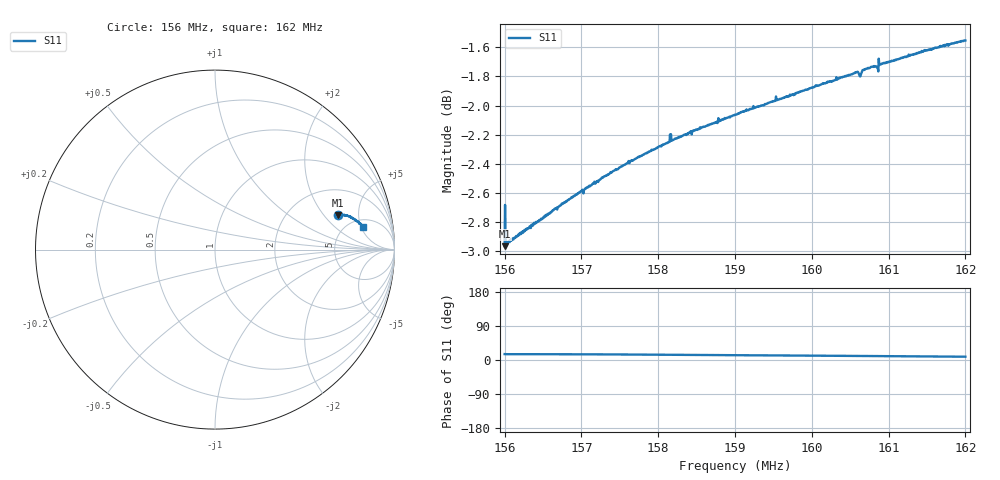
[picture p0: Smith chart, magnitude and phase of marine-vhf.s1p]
! Calibrated averaged scanner-service zoom
# Hz S RI R 50
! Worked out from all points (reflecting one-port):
!   1001 points, 156 MHz to 162 MHz, reference 50 ohm
!   lowest |S11| = -3.0 dB at 156 MHz (marker M1), VSWR 5.92, Z = 182 + j141 ohm
!   phase of S11 starts at 16 deg and turns -7 deg over the sweep
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1.56e8  0.6847 0.1911
1.56036e8  0.6875 0.1885
1.56042e8  0.6872 0.1886
1.56138e8  0.69 0.1894
1.56486e8  0.7005 0.1922
1.5675e8  0.7094 0.1932
1.57158e8  0.7216 0.1924
1.575e8  0.7321 0.1906
1.5774e8  0.7392 0.1882
1.58118e8  0.7491 0.1842
1.58136e8  0.7494 0.1838
1.5825e8  0.7525 0.1827
1.58472e8  0.7578 0.1799
1.59e8  0.7692 0.1731
1.59222e8  0.7739 0.1701
1.5975e8  0.7844 0.1636
1.605e8  0.7993 0.1529
1.60578e8  0.8012 0.1517
1.60626e8  0.7984 0.1527
1.60692e8  0.8033 0.15
1.608e8  0.8054 0.1482
1.60836e8  0.806 0.1469
1.60854e8  0.8053 0.1449
1.60902e8  0.8074 0.1463
1.6092e8  0.808 0.1461
1.6125e8  0.8139 0.1405
1.6146e8  0.8178 0.1366
1.62e8  0.8266 0.1262
